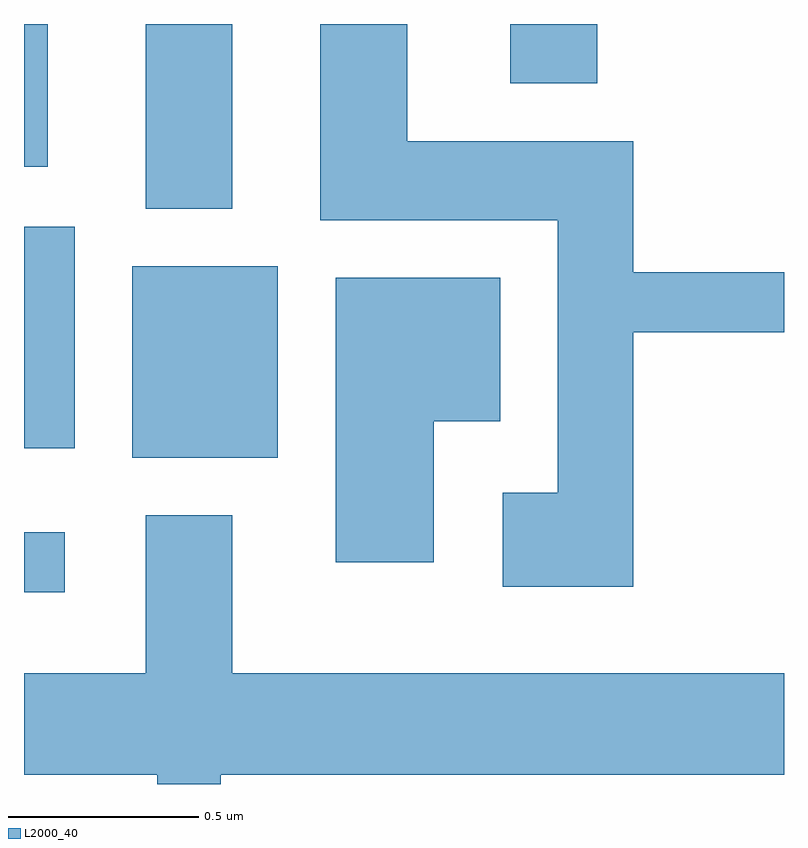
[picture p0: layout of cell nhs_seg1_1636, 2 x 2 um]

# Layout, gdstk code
import gdstk
lib = gdstk.Library(unit=1e-6, precision=1e-09)
def R(c, l, rs):  # rectangles x0, y0, x1, y1
    for r in rs: c.add(gdstk.rectangle(r[:2], r[2:], *l))
def P(c, l, *ps):  # polygons
    for p in ps: c.add(gdstk.Polygon(p, *l))
L2000_40 = (2000, 40)

nhs_seg1_1636 = lib.new_cell('nhs_seg1_1636')
R(nhs_seg1_1636, L2000_40, [(197.611,851.216,197.718,851.374), (197.896,851.571,198.279,852.074), (197.611,851.596,197.744,852.179), (197.931,852.226,198.159,852.712), (197.611,852.336,197.674,852.712), (198.891,852.556,199.119,852.712)])
P(nhs_seg1_1636, L2000_40, [(199.214,851.901),(199.611,851.901),(199.611,852.059),(199.214,852.059),(199.214,852.404),(198.619,852.404),(198.619,852.712),(198.391,852.712),(198.391,852.196),(199.016,852.196),(199.016,851.479),(198.871,851.479),(198.871,851.231),(199.214,851.231)],
  [(198.689,851.666),(198.864,851.666),(198.864,852.044),(198.431,852.044),(198.431,851.296),(198.689,851.296)],
  [(198.129,850.736),(199.611,850.736),(199.611,851.004),(198.159,851.004),(198.159,851.419),(197.931,851.419),(197.931,851.004),(197.611,851.004),(197.611,850.736),(197.961,850.736),(197.961,850.712),(198.129,850.712)])

lib.write_gds('nhs_seg1_1636.gds')
